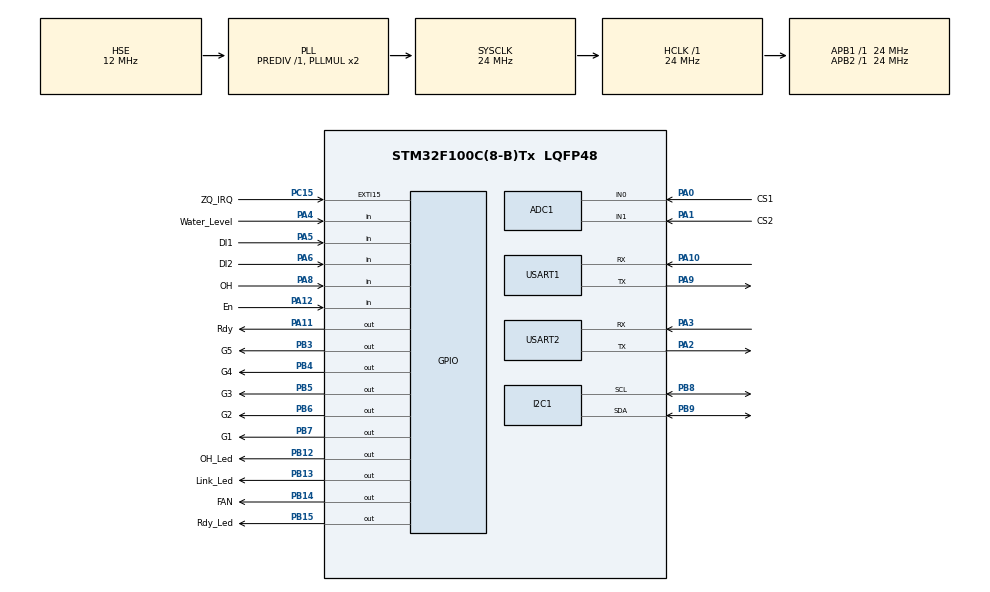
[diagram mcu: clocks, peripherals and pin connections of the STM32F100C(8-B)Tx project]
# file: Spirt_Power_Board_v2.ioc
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ADC1.Channel-6\#ChannelRegularConversion=ADC_CHANNEL_0
ADC1.Channel-7\#ChannelRegularConversion=ADC_CHANNEL_1
ADC1.Channel-8\#ChannelRegularConversion=ADC_CHANNEL_TEMPSENSOR
ADC1.ContinuousConvMode=DISABLE
ADC1.DataAlign=ADC_DATAALIGN_RIGHT
ADC1.DiscontinuousConvMode=DISABLE
ADC1.EnableRegularConversion=ENABLE
ADC1.InjNumberOfConversion=0
ADC1.NbrOfConversion=3
ADC1.NbrOfConversionFlag=1
ADC1.Rank-6\#ChannelRegularConversion=1
ADC1.Rank-7\#ChannelRegularConversion=2
ADC1.Rank-8\#ChannelRegularConversion=3
ADC1.SamplingTime-6\#ChannelRegularConversion=ADC_SAMPLETIME_1CYCLE_5
ADC1.SamplingTime-7\#ChannelRegularConversion=ADC_SAMPLETIME_1CYCLE_5
ADC1.SamplingTime-8\#ChannelRegularConversion=ADC_SAMPLETIME_1CYCLE_5
ADC1.ScanConvMode=ADC_SCAN_ENABLE
ADC1.master=1
Dma.ADC1.2.Direction=DMA_PERIPH_TO_MEMORY
Dma.ADC1.2.Instance=DMA1_Channel1
Dma.ADC1.2.MemDataAlignment=DMA_MDATAALIGN_HALFWORD
Dma.ADC1.2.MemInc=DMA_MINC_ENABLE
Dma.ADC1.2.Mode=DMA_NORMAL
Dma.ADC1.2.PeriphDataAlignment=DMA_PDATAALIGN_HALFWORD
Dma.ADC1.2.PeriphInc=DMA_PINC_DISABLE
Dma.ADC1.2.Priority=DMA_PRIORITY_LOW
Dma.Request0=USART2_RX
Dma.Request1=USART2_TX
Dma.Request2=ADC1
Dma.USART2_RX.0.Direction=DMA_PERIPH_TO_MEMORY
Dma.USART2_RX.0.Instance=DMA1_Channel6
Dma.USART2_RX.0.MemDataAlignment=DMA_MDATAALIGN_BYTE
Dma.USART2_RX.0.MemInc=DMA_MINC_ENABLE
Dma.USART2_RX.0.Mode=DMA_NORMAL
Dma.USART2_RX.0.PeriphDataAlignment=DMA_PDATAALIGN_BYTE
Dma.USART2_RX.0.PeriphInc=DMA_PINC_DISABLE
Dma.USART2_RX.0.Priority=DMA_PRIORITY_LOW
Dma.USART2_TX.1.Direction=DMA_MEMORY_TO_PERIPH
Dma.USART2_TX.1.Instance=DMA1_Channel7
Dma.USART2_TX.1.MemDataAlignment=DMA_MDATAALIGN_BYTE
Dma.USART2_TX.1.MemInc=DMA_MINC_ENABLE
Dma.USART2_TX.1.Mode=DMA_NORMAL
Dma.USART2_TX.1.PeriphDataAlignment=DMA_PDATAALIGN_BYTE
Dma.USART2_TX.1.PeriphInc=DMA_PINC_DISABLE
Dma.USART2_TX.1.Priority=DMA_PRIORITY_LOW
FREERTOS.INCLUDE_vTaskDelayUntil=1
FREERTOS.Tasks01=mainWorker,0,128,StartMainWorker,Default;heaterWorker,0,128,StartHeaterWorker,Default;tempSen,-1,128,StartTempSen,Default;rmsCalc,1,128,StartRmsCalc,Default
FREERTOS.configTOTAL_HEAP_SIZE=3584
FREERTOS.configUSE_COUNTING_SEMAPHORES=1
Mcu.Family=STM32F1
Mcu.Name=STM32F100C(8-B)Tx
Mcu.Package=LQFP48
NVIC.ADC1_IRQn=true\:5\:0\:false\:false\:true\:true
NVIC.DMA1_Channel1_IRQn=true\:5\:0\:false\:false\:true\:true
NVIC.DMA1_Channel6_IRQn=true\:5\:0\:false\:false\:true\:true
NVIC.DMA1_Channel7_IRQn=true\:5\:0\:false\:false\:true\:true
NVIC.EXTI15_10_IRQn=true\:5\:0\:false\:false\:true\:true
NVIC.PriorityGroup=NVIC_PRIORITYGROUP_4
NVIC.TIM1_UP_TIM16_IRQn=true\:0\:0\:false\:false\:true\:false
NVIC.TIM6_DAC_IRQn=true\:5\:0\:false\:false\:true\:true
NVIC.TimeBase=TIM1_UP_TIM16_IRQn
NVIC.TimeBaseIP=TIM1
NVIC.USART1_IRQn=true\:0\:0\:false\:false\:true\:false
NVIC.USART2_IRQn=true\:0\:0\:false\:false\:true\:false
PA0-WKUP.GPIO_Label=CS1
PA0-WKUP.Signal=ADCx_IN0
PA1.GPIO_Label=CS2
PA1.Signal=ADCx_IN1
PA10.Mode=Asynchronous
PA10.Signal=USART1_RX
PA11.GPIO_Label=Rdy
PA11.Signal=GPIO_Output
PA12.GPIO_Label=En
PA12.Signal=GPIO_Input
PA13.Mode=Serial_Wire
PA13.Signal=SYS_JTMS-SWDIO
PA14.Mode=Serial_Wire
PA14.Signal=SYS_JTCK-SWCLK
PA2.Mode=Asynchronous
PA2.Signal=USART2_TX
PA3.Mode=Asynchronous
PA3.Signal=USART2_RX
PA4.GPIO_Label=Water_Level
PA4.Signal=GPIO_Input
PA5.GPIO_Label=DI1
PA5.Signal=GPIO_Input
PA6.GPIO_Label=DI2
PA6.Signal=GPIO_Input
PA8.GPIO_Label=OH
PA8.Signal=GPIO_Input
PA9.Mode=Asynchronous
PA9.Signal=USART1_TX
PB12.GPIO_Label=OH_Led
PB12.Signal=GPIO_Output
PB13.GPIO_Label=Link_Led
PB13.Signal=GPIO_Output
PB14.GPIO_Label=FAN
PB14.Signal=GPIO_Output
PB15.GPIO_Label=Rdy_Led
PB15.Signal=GPIO_Output
PB3.GPIO_Label=G5
PB3.Signal=GPIO_Output
PB4.GPIO_Label=G4
PB4.Signal=GPIO_Output
PB5.GPIO_Label=G3
PB5.Signal=GPIO_Output
PB6.GPIO_Label=G2
PB6.Signal=GPIO_Output
PB7.GPIO_Label=G1
PB7.Signal=GPIO_Output
PB8.Mode=I2C
PB8.Signal=I2C1_SCL
PB9.Mode=I2C
PB9.Signal=I2C1_SDA
PC15-OSC32_OUT.GPIO_Label=ZQ_IRQ
PC15-OSC32_OUT.GPIO_ModeDefaultEXTI=GPIO_MODE_IT_FALLING
PC15-OSC32_OUT.Signal=GPXTI15
PD0-OSC_IN.Mode=HSE-External-Oscillator
PD0-OSC_IN.Signal=RCC_OSC_IN
PD1-OSC_OUT.Mode=HSE-External-Oscillator
PD1-OSC_OUT.Signal=RCC_OSC_OUT
ProjectManager.HeapSize=0x200
ProjectManager.StackSize=0x400
ProjectManager.TargetToolchain=MDK-ARM V5
RCC.AHBFreq_Value=24000000
RCC.APB1Freq_Value=24000000
RCC.APB1TimFreq_Value=24000000
RCC.APB2Freq_Value=24000000
RCC.APB2TimFreq_Value=24000000
RCC.HCLKFreq_Value=24000000
RCC.HSE_VALUE=12000000
RCC.PLLSource=RCC_PLLSOURCE_HSE
RCC.SYSCLKFreq_VALUE=24000000
RCC.SYSCLKSource=RCC_SYSCLKSOURCE_PLLCLK
SH.ADCx_IN0.0=ADC1_IN0,IN0
SH.ADCx_IN1.0=ADC1_IN1,IN1
TIM6.Period=200
TIM6.Prescaler=2399
VP_ADC1_TempSens_Input.Mode=IN-TempSens
VP_CRC_VS_CRC.Mode=CRC_Activate
VP_FREERTOS_VS_ENABLE.Mode=Enabled
VP_IWDG_VS_IWDG.Mode=IWDG_Activate
VP_SYS_VS_tim1.Mode=TIM1
VP_TIM6_VS_ClockSourceINT.Mode=Enable_Timer
board=Spirt_Power_Board_v2

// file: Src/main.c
/**
  ******************************************************************************
  * File Name          : main.c
  * Description        : Main program body
  ******************************************************************************
  *
  * Copyright (c) 2017 STMicroelectronics International N.V.
  * All rights reserved.
  *
  * Redistribution and use in source and binary forms, with or without
  * modification, are permitted, provided that the following conditions are met:
  *
  * 1. Redistribution of source code must retain the above copyright notice,
  *    this list of conditions and the following disclaimer.
  * 2. Redistributions in binary form must reproduce the above copyright notice,
  *    this list of conditions and the following disclaimer in the documentation
  *    and/or other materials provided with the distribution.
  * 3. Neither the name of STMicroelectronics nor the names of other
  *    contributors to this software may be used to endorse or promote products
  *    derived from this software without specific written permission.
  * 4. This software, including modifications and/or derivative works of this
  *    software, must execute solely and exclusively on microcontroller or
  *    microprocessor devices manufactured by or for STMicroelectronics.
  * 5. Redistribution and use of this software other than as permitted under
  *    this license is void and will automatically terminate your rights under
  *    this license.
  *
  * THIS SOFTWARE IS PROVIDED BY STMICROELECTRONICS AND CONTRIBUTORS "AS IS"
  * AND ANY EXPRESS, IMPLIED OR STATUTORY WARRANTIES, INCLUDING, BUT NOT
  * LIMITED TO, THE IMPLIED WARRANTIES OF MERCHANTABILITY, FITNESS FOR A
  * PARTICULAR PURPOSE AND NON-INFRINGEMENT OF THIRD PARTY INTELLECTUAL PROPERTY
  * RIGHTS ARE DISCLAIMED TO THE FULLEST EXTENT PERMITTED BY LAW. IN NO EVENT
  * SHALL STMICROELECTRONICS OR CONTRIBUTORS BE LIABLE FOR ANY DIRECT, INDIRECT,
  * INCIDENTAL, SPECIAL, EXEMPLARY, OR CONSEQUENTIAL DAMAGES (INCLUDING, BUT NOT
  * LIMITED TO, PROCUREMENT OF SUBSTITUTE GOODS OR SERVICES; LOSS OF USE, DATA,
  * OR PROFITS; OR BUSINESS INTERRUPTION) HOWEVER CAUSED AND ON ANY THEORY OF
  * LIABILITY, WHETHER IN CONTRACT, STRICT LIABILITY, OR TORT (INCLUDING
  * NEGLIGENCE OR OTHERWISE) ARISING IN ANY WAY OUT OF THE USE OF THIS SOFTWARE,
  * EVEN IF ADVISED OF THE POSSIBILITY OF SUCH DAMAGE.
  *
  ******************************************************************************
  */
#include "main.h"
#include "stm32f1xx_hal.h"
#include "cmsis_os.h"

/* USER CODE BEGIN Includes */
#include <wake.h>
#include <registers.h>
#include <settings.h>
#include <OWIHighLevelFunctions.h>
#include <util.h>
#include <pid.h>
#include <cpu_utils.h>

/* USER CODE END Includes */

ADC_HandleTypeDef hadc1;
DMA_HandleTypeDef hdma_adc1;

CRC_HandleTypeDef hcrc;

I2C_HandleTypeDef hi2c1;

IWDG_HandleTypeDef hiwdg;

TIM_HandleTypeDef htim6;

UART_HandleTypeDef huart1;
UART_HandleTypeDef huart2;
DMA_HandleTypeDef hdma_usart2_rx;
DMA_HandleTypeDef hdma_usart2_tx;

osThreadId mainWorkerHandle;
osThreadId heaterWorkerHandle;
osThreadId tempSenHandle;
osThreadId rmsCalcHandle;

/* USER CODE BEGIN PV */
/* Private variables ---------------------------------------------------------*/

xSemaphoreHandle  RW_Reg_Mutex, rmsCalcSemaphor;

uint8_t sens_count = 0;
float coolant_temp = 0.0;
float heater2Power = 0;
uint8_t OW_Status;
uint8_t heater2_sp_halpfs;
uint8_t halpf_count; // counter halpf periods for full cicle
uint16_t adc_buf[3]; // ADC raw value
CircleBuffer * CurentSensor1;
CircleBuffer * CurentSensor2;
CircleBuffer * AvgCS1;
CircleBuffer * AvgCS2;
BitCircleBuffer * SlideHalpfCounter;

uint8_t  adc_ready = 0,
				 cs_calibrated = 0;
uint16_t cs1_offset = 0,
				 cs2_offset = 0;

int16_t	cpu_temp;
int16_t cs2_avg_mv;

uint8_t halph_wave_counter;
uint8_t curent_en_flag = 0;
#if HEATER_CTRL_METHOD == POWER_CTRL_BRESENHAM
int16_t error;
#endif

//----------------------------
volatile uint8_t heater_pwr;
volatile uint16_t sp;
SPid pid;
volatile float pv, err, maxPower;

/* USER CODE END PV */

void SystemClock_Config(void);
void Error_Handler(void);
static void MX_GPIO_Init(void);
static void MX_DMA_Init(void);
static void MX_ADC1_Init(void);
static void MX_CRC_Init(void);
static void MX_I2C1_Init(void);
static void MX_IWDG_Init(void);
static void MX_TIM6_Init(void);
static void MX_USART1_UART_Init(void);
static void MX_USART2_UART_Init(void);
void StartMainWorker(void const * argument);
void StartHeaterWorker(void const * argument);
void StartTempSen(void const * argument);
void StartRmsCalc(void const * argument);

/* USER CODE BEGIN PFP */
/* Private function prototypes -----------------------------------------------*/
void Init_Registers(void);

void HAL_UART_ErrorCallback(UART_HandleTypeDef *huart){
	if (huart == &huart2) {

		// Необходимость данного "костыля" не доказана :)
		if (huart->ErrorCode == HAL_UART_ERROR_ORE){
        // remove the error condition
        huart->ErrorCode = HAL_UART_ERROR_NONE;
        // set the correct state, so that the UART_RX_IT works correctly
        huart->State = HAL_UART_STATE_BUSY_RX;
    }
	}
}
/* USER CODE END PFP */

int main(void)
{

  /* MCU Configuration----------------------------------------------------------*/

  /* Reset of all peripherals, Initializes the Flash interface and the Systick. */
  HAL_Init();

  /* Configure the system clock */
  SystemClock_Config();

  /* Initialize all configured peripherals */
  MX_GPIO_Init();
  MX_DMA_Init();
  MX_ADC1_Init();
  MX_CRC_Init();
  MX_I2C1_Init();
  MX_IWDG_Init();
  MX_TIM6_Init();
  MX_USART1_UART_Init();
  MX_USART2_UART_Init();

  /* USER CODE BEGIN 2 */
	HAL_ADCEx_Calibration_Start(&hadc1);
	Init_Registers();
	Wake_Init(&huart1);
	OW_Init(&huart2);
	HAL_IWDG_Start(&hiwdg);
	CurentSensor1 = CB_Create(CB_CS_CAPACITY);
	CurentSensor2 = CB_Create(CB_CS_CAPACITY);
	AvgCS1 = CB_Create(CB_AVG_CAPACITY1);
	AvgCS2 = CB_Create(CB_AVG_CAPACITY2);
	//SlideHalpfConter = BitCB_Create(CB_AVG_CAPACITY2 * 2); //100 * 2 = 200 halpf periods / 8 = (25 byte)
	SlideHalpfCounter = BitCB_Create(CB_AVG_CAPACITY2); // 100 halpf periods / 8 + 1 = (13 byte)
	adc_ready = 1; // start adc conversion after all configuration
  /* USER CODE END 2 */

  /* USER CODE BEGIN RTOS_MUTEX */
  /* add mutexes, ... */
	RW_Reg_Mutex = xSemaphoreCreateMutex();
  /* USER CODE END RTOS_MUTEX */

  /* Create the thread(s) */
  /* definition and creation of mainWorker */
  osThreadDef(mainWorker, StartMainWorker, osPriorityNormal, 0, 128);
  mainWorkerHandle = osThreadCreate(osThread(mainWorker), NULL);

  /* definition and creation of heaterWorker */
  osThreadDef(heaterWorker, StartHeaterWorker, osPriorityNormal, 0, 128);
  heaterWorkerHandle = osThreadCreate(osThread(heaterWorker), NULL);

  /* definition and creation of tempSen */
  osThreadDef(tempSen, StartTempSen, osPriorityBelowNormal, 0, 128);
  tempSenHandle = osThreadCreate(osThread(tempSen), NULL);

  /* definition and creation of rmsCalc */
  osThreadDef(rmsCalc, StartRmsCalc, osPriorityAboveNormal, 0, 128);
  rmsCalcHandle = osThreadCreate(osThread(rmsCalc), NULL);

  /* Start scheduler */
  osKernelStart();

  /* We should never get here as control is now taken by the scheduler */

  /* Infinite loop */
  while (1)
  {

  }

}

/** System Clock Configuration
*/
void SystemClock_Config(void)
{

  RCC_OscInitTypeDef RCC_OscInitStruct;
  RCC_ClkInitTypeDef RCC_ClkInitStruct;
  RCC_PeriphCLKInitTypeDef PeriphClkInit;

    /**Initializes the CPU, AHB and APB busses clocks
    */
  RCC_OscInitStruct.OscillatorType = RCC_OSCILLATORTYPE_LSI|RCC_OSCILLATORTYPE_HSE;
  RCC_OscInitStruct.HSEState = RCC_HSE_ON;
  RCC_OscInitStruct.HSEPredivValue = RCC_HSE_PREDIV_DIV1;
  RCC_OscInitStruct.LSIState = RCC_LSI_ON;
  RCC_OscInitStruct.PLL.PLLState = RCC_PLL_ON;
  RCC_OscInitStruct.PLL.PLLSource = RCC_PLLSOURCE_HSE;
  RCC_OscInitStruct.PLL.PLLMUL = RCC_PLL_MUL2;
  if (HAL_RCC_OscConfig(&RCC_OscInitStruct) != HAL_OK)
  {
    Error_Handler();
  }

    /**Initializes the CPU, AHB and APB busses clocks
    */
  RCC_ClkInitStruct.ClockType = RCC_CLOCKTYPE_HCLK|RCC_CLOCKTYPE_SYSCLK
                              |RCC_CLOCKTYPE_PCLK1|RCC_CLOCKTYPE_PCLK2;
  RCC_ClkInitStruct.SYSCLKSource = RCC_SYSCLKSOURCE_PLLCLK;
  RCC_ClkInitStruct.AHBCLKDivider = RCC_SYSCLK_DIV1;
  RCC_ClkInitStruct.APB1CLKDivider = RCC_HCLK_DIV1;
  RCC_ClkInitStruct.APB2CLKDivider = RCC_HCLK_DIV1;

  if (HAL_RCC_ClockConfig(&RCC_ClkInitStruct, FLASH_LATENCY_0) != HAL_OK)
  {
    Error_Handler();
  }

  PeriphClkInit.PeriphClockSelection = RCC_PERIPHCLK_ADC;
  PeriphClkInit.AdcClockSelection = RCC_ADCPCLK2_DIV2;
  if (HAL_RCCEx_PeriphCLKConfig(&PeriphClkInit) != HAL_OK)
  {
    Error_Handler();
  }

    /**Configure the Systick interrupt time
    */
  HAL_SYSTICK_Config(HAL_RCC_GetHCLKFreq()/1000);

    /**Configure the Systick
    */
  HAL_SYSTICK_CLKSourceConfig(SYSTICK_CLKSOURCE_HCLK);

  /* SysTick_IRQn interrupt configuration */
  HAL_NVIC_SetPriority(SysTick_IRQn, 15, 0);
}

/* ADC1 init function */
static void MX_ADC1_Init(void)
{

  ADC_ChannelConfTypeDef sConfig;

    /**Common config
    */
  hadc1.Instance = ADC1;
  hadc1.Init.ScanConvMode = ADC_SCAN_ENABLE;
  hadc1.Init.ContinuousConvMode = DISABLE;
  hadc1.Init.DiscontinuousConvMode = DISABLE;
  hadc1.Init.ExternalTrigConv = ADC_SOFTWARE_START;
  hadc1.Init.DataAlign = ADC_DATAALIGN_RIGHT;
  hadc1.Init.NbrOfConversion = 3;
  if (HAL_ADC_Init(&hadc1) != HAL_OK)
  {
    Error_Handler();
  }

    /**Configure Regular Channel
    */
  sConfig.Channel = ADC_CHANNEL_0;
  sConfig.Rank = 1;
  sConfig.SamplingTime = ADC_SAMPLETIME_1CYCLE_5;
  if (HAL_ADC_ConfigChannel(&hadc1, &sConfig) != HAL_OK)
  {
    Error_Handler();
  }

    /**Configure Regular Channel
    */
  sConfig.Channel = ADC_CHANNEL_1;
  sConfig.Rank = 2;
  if (HAL_ADC_ConfigChannel(&hadc1, &sConfig) != HAL_OK)
  {
    Error_Handler();
  }

    /**Configure Regular Channel
    */
  sConfig.Channel = ADC_CHANNEL_TEMPSENSOR;
  sConfig.Rank = 3;
  if (HAL_ADC_ConfigChannel(&hadc1, &sConfig) != HAL_OK)
  {
    Error_Handler();
  }

}

/* CRC init function */
static void MX_CRC_Init(void)
{

  hcrc.Instance = CRC;
  if (HAL_CRC_Init(&hcrc) != HAL_OK)
  {
    Error_Handler();
  }

}

/* I2C1 init function */
static void MX_I2C1_Init(void)
{

  hi2c1.Instance = I2C1;
  hi2c1.Init.ClockSpeed = 100000;
  hi2c1.Init.DutyCycle = I2C_DUTYCYCLE_2;
  hi2c1.Init.OwnAddress1 = 0;
  hi2c1.Init.AddressingMode = I2C_ADDRESSINGMODE_7BIT;
  hi2c1.Init.DualAddressMode = I2C_DUALADDRESS_DISABLE;
  hi2c1.Init.OwnAddress2 = 0;
  hi2c1.Init.GeneralCallMode = I2C_GENERALCALL_DISABLE;
  hi2c1.Init.NoStretchMode = I2C_NOSTRETCH_DISABLE;
  if (HAL_I2C_Init(&hi2c1) != HAL_OK)
  {
    Error_Handler();
  }

}

/* IWDG init function */
static void MX_IWDG_Init(void)
{

  hiwdg.Instance = IWDG;
  hiwdg.Init.Prescaler = IWDG_PRESCALER_4;
  hiwdg.Init.Reload = 4095;
  if (HAL_IWDG_Init(&hiwdg) != HAL_OK)
  {
    Error_Handler();
  }

}

/* TIM6 init function */
static void MX_TIM6_Init(void)
{

  TIM_MasterConfigTypeDef sMasterConfig;

  htim6.Instance = TIM6;
  htim6.Init.Prescaler = 2399;
  htim6.Init.CounterMode = TIM_COUNTERMODE_UP;
  htim6.Init.Period = 50; // 5 ms
  if (HAL_TIM_Base_Init(&htim6) != HAL_OK)
  {
    Error_Handler();
  }

  sMasterConfig.MasterOutputTrigger = TIM_TRGO_RESET;
  sMasterConfig.MasterSlaveMode = TIM_MASTERSLAVEMODE_DISABLE;
  if (HAL_TIMEx_MasterConfigSynchronization(&htim6, &sMasterConfig) != HAL_OK)
  {
    Error_Handler();
  }

}

/* USART1 init function */
static void MX_USART1_UART_Init(void)
{

  huart1.Instance = USART1;
  huart1.Init.BaudRate = 115200;
  huart1.Init.WordLength = UART_WORDLENGTH_8B;
  huart1.Init.StopBits = UART_STOPBITS_1;
  huart1.Init.Parity = UART_PARITY_NONE;
  huart1.Init.Mode = UART_MODE_TX_RX;
  huart1.Init.HwFlowCtl = UART_HWCONTROL_NONE;
  huart1.Init.OverSampling = UART_OVERSAMPLING_16;
  if (HAL_UART_Init(&huart1) != HAL_OK)
  {
    Error_Handler();
  }

}

/* USART2 init function */
static void MX_USART2_UART_Init(void)
{

  huart2.Instance = USART2;
  huart2.Init.BaudRate = 115200;
  huart2.Init.WordLength = UART_WORDLENGTH_8B;
  huart2.Init.StopBits = UART_STOPBITS_1;
  huart2.Init.Parity = UART_PARITY_NONE;
  huart2.Init.Mode = UART_MODE_TX_RX;
  huart2.Init.HwFlowCtl = UART_HWCONTROL_NONE;
  huart2.Init.OverSampling = UART_OVERSAMPLING_16;
  if (HAL_UART_Init(&huart2) != HAL_OK)
  {
    Error_Handler();
  }

}

static void MX_DMA_Init(void)
{
  /* DMA controller clock enable */
  __HAL_RCC_DMA1_CLK_ENABLE();

  /* DMA interrupt init */
  /* DMA1_Channel1_IRQn interrupt configuration */
  HAL_NVIC_SetPriority(DMA1_Channel1_IRQn, 5, 0);
  HAL_NVIC_EnableIRQ(DMA1_Channel1_IRQn);
  /* DMA1_Channel6_IRQn interrupt configuration */
  HAL_NVIC_SetPriority(DMA1_Channel6_IRQn, 5, 0);
  HAL_NVIC_EnableIRQ(DMA1_Channel6_IRQn);
  /* DMA1_Channel7_IRQn interrupt configuration */
  HAL_NVIC_SetPriority(DMA1_Channel7_IRQn, 5, 0);
  HAL_NVIC_EnableIRQ(DMA1_Channel7_IRQn);

}

/** Configure pins as
        * Analog
        * Input
        * Output
        * EVENT_OUT
        * EXTI
*/
static void MX_GPIO_Init(void)
{

  GPIO_InitTypeDef GPIO_InitStruct;

  /* GPIO Ports Clock Enable */
  __HAL_RCC_GPIOC_CLK_ENABLE();
  __HAL_RCC_GPIOD_CLK_ENABLE();
  __HAL_RCC_GPIOA_CLK_ENABLE();
  __HAL_RCC_GPIOB_CLK_ENABLE();

  /*Configure GPIO pin : ZQ_IRQ_Pin */
  GPIO_InitStruct.Pin = ZQ_IRQ_Pin;
  GPIO_InitStruct.Mode = GPIO_MODE_IT_FALLING;
  GPIO_InitStruct.Pull = GPIO_NOPULL;
  HAL_GPIO_Init(ZQ_IRQ_GPIO_Port, &GPIO_InitStruct);

  /*Configure GPIO pins : Water_Level_Pin DI1_Pin DI2_Pin OH_Pin
                           En_Pin */
  GPIO_InitStruct.Pin = Water_Level_Pin|DI1_Pin|DI2_Pin|OH_Pin
                          |En_Pin;
  GPIO_InitStruct.Mode = GPIO_MODE_INPUT;
  GPIO_InitStruct.Pull = GPIO_NOPULL;
  HAL_GPIO_Init(GPIOA, &GPIO_InitStruct);

  /*Configure GPIO pins : OH_Led_Pin Link_Led_Pin FAN_Pin Rdy_Led_Pin
                           G5_Pin G4_Pin G3_Pin G2_Pin
                           G1_Pin */
  GPIO_InitStruct.Pin = OH_Led_Pin|Link_Led_Pin|FAN_Pin|Rdy_Led_Pin
                          |G5_Pin|G4_Pin|G3_Pin|G2_Pin
                          |G1_Pin;
  GPIO_InitStruct.Mode = GPIO_MODE_OUTPUT_PP;
  GPIO_InitStruct.Speed = GPIO_SPEED_FREQ_LOW;
  HAL_GPIO_Init(GPIOB, &GPIO_InitStruct);

  /*Configure GPIO pin : Rdy_Pin */
  GPIO_InitStruct.Pin = Rdy_Pin;
  GPIO_InitStruct.Mode = GPIO_MODE_OUTPUT_PP;
  GPIO_InitStruct.Speed = GPIO_SPEED_FREQ_LOW;
  HAL_GPIO_Init(Rdy_GPIO_Port, &GPIO_InitStruct);

  /*Configure GPIO pin Output Level */
  HAL_GPIO_WritePin(GPIOB, OH_Led_Pin|Link_Led_Pin|FAN_Pin|Rdy_Led_Pin
                          |G5_Pin|G4_Pin|G3_Pin|G2_Pin
                          |G1_Pin, GPIO_PIN_RESET);

  /*Configure GPIO pin Output Level */
  HAL_GPIO_WritePin(Rdy_GPIO_Port, Rdy_Pin, GPIO_PIN_RESET);

  /* EXTI interrupt init*/
  HAL_NVIC_SetPriority(EXTI15_10_IRQn, 5, 0);
  HAL_NVIC_EnableIRQ(EXTI15_10_IRQn);

}

/* USER CODE BEGIN 4 */

// Начальная инициализация параметров
void Init_Registers(void){
	R[RO_HSV] = HW_SW_VER; 	// See settings.h
	R[RW_SP_PWR_M] = 500;   // 50 %
	R[RW_SP_PWR_A] = 500;		// 50 %
	R[RW_SP_T] = 24;				// 24 C
	R[RW_R1] = 323;					// 32.3 Om
	R[RW_R2] = 161;					// 16.1 Om
	R[RW_KP] = 100;					// Kp = 1;
	R[RW_KI] = 1;						// Ki = 0,01
	R[RW_KD] = 0;						// Kd = 0
	R[RW_CMD] = 0x0000;			// CMD = 0
	R[RO_ETA] = 0x0000;			// ETA = 0
}
//--------------------------------------------------------------------------------------
void HAL_UART_RxCpltCallback(UART_HandleTypeDef *huart)
{
	if (huart->Instance == USART1) //huart == &huart1
	{
			HAL_GPIO_WritePin(Link_Led_GPIO_Port, Link_Led_Pin, GPIO_PIN_SET);
			Wake_UART_Rx();
	}
}
//--------------------------------------------------------------------------------------
void HAL_UART_TxCpltCallback(UART_HandleTypeDef *huart)
{
	if (huart->Instance == USART1) //huart == &huart1
	{
			Wake_UART_Tx();
			HAL_GPIO_WritePin(Link_Led_GPIO_Port, Link_Led_Pin, GPIO_PIN_RESET);
	}
}
//--------------------------------------------------------------------------------------
// Zero cross detection
void HAL_GPIO_EXTI_Callback(uint16_t GPIO_Pin){
/*
static uint8_t halph_wave_counter;
#if HEATER_CTRL_METHOD == POWER_CTRL_BRESENHAM
static int16_t error;
#endif
	*/
//static uint8_t period_flag = 0;
portBASE_TYPE xHigherPriorityTaskWoken = pdFALSE;

	if (GPIO_Pin == ZQ_IRQ_Pin) {
			if (heater2_sp_halpfs == HALPHS_COUNT) { // tolerance 0.5 %
				//HEATER_ON;
				HAL_GPIO_WritePin(G2_GPIO_Port, G2_Pin, GPIO_PIN_SET);
				halph_wave_counter = 0;
				BitCB_PlaceTail(SlideHalpfCounter, 1);
				heater2_sp_halpfs = heater_pwr; // write new power value
				curent_en_flag = 1;
				#if HEATER_CTRL_METHOD == POWER_CTRL_BRESENHAM
				error = HALPHS_COUNT / 2;
				#endif
			} else
			#if HEATER_CTRL_METHOD == POWER_CTRL_PWM  // PWM control
				if (heater2_sp_halpfs > 0) {
					if (++halph_wave_counter >= heater2_sp_halpfs) {
						//HEATER_OFF;
						BitCB_PlaceTail(SlideHalpfConter, 0);
						HAL_GPIO_WritePin(G2_GPIO_Port, G2_Pin, GPIO_PIN_RESET);
						curent_en_flag = 0;
					} else {
						//HEATER_ON;
						BitCB_PlaceTail(SlideHalpfConter, 1);
						HAL_GPIO_WritePin(G2_GPIO_Port, G2_Pin, GPIO_PIN_SET);
						curent_en_flag = 1;
					}
					if (halph_wave_counter >= HALPHS_COUNT) { //199
						halph_wave_counter = 0;
						heater2_sp_halpfs = heater_pwr; // write new power value
					}
				} else {
					//HEATER_OFF;
					HAL_GPIO_WritePin(G2_GPIO_Port, G2_Pin, GPIO_PIN_RESET);
					curent_en_flag = 0;
					halph_wave_counter = 0;
					BitCB_PlaceTail(SlideHalpfConter, 0);
					heater2_sp_halpfs = heater_pwr; // write new power value
				}
			#else // Bresenham method control
				if (heater2_sp_halpfs > 0) {

					error -= heater2_sp_halpfs;
					if (error < 0) {
						//HEATER_ON;
						error +=  HALPHS_COUNT;
						BitCB_PlaceTail(SlideHalpfCounter, 1);
						HAL_GPIO_WritePin(G2_GPIO_Port, G2_Pin, GPIO_PIN_SET);
						curent_en_flag = 1;
						HAL_TIM_Base_Start_IT(&htim6);
					} else {
						//HEATER_OFF;
						BitCB_PlaceTail(SlideHalpfCounter, 0);
						HAL_GPIO_WritePin(G2_GPIO_Port, G2_Pin, GPIO_PIN_RESET);
						curent_en_flag = 0;
					}
					if (++halph_wave_counter >= HALPHS_COUNT) { //199
						halph_wave_counter = 0;
						heater2_sp_halpfs = heater_pwr; // write new power value
						error = HALPHS_COUNT / 2;
					}
					/*
					error += heater2_sp_halpfs;
					if (error >= HALPHS_COUNT) {
						//HEATER_ON;
						error -=  HALPHS_COUNT;
						BitCB_PlaceTail(SlideHalpfConter, 1);
						HAL_GPIO_WritePin(G2_GPIO_Port, G2_Pin, GPIO_PIN_SET);
						curent_en_flag = 1;
						HAL_TIM_Base_Start_IT(&htim6);
					} else {
						//HEATER_OFF;
						BitCB_PlaceTail(SlideHalpfConter, 0);
						HAL_GPIO_WritePin(G2_GPIO_Port, G2_Pin, GPIO_PIN_RESET);
						curent_en_flag = 0;
						heater2_sp_halpfs = heater_pwr; // write new power value
					}
					*/
				} else {
					//HEATER_OFF;
					HAL_GPIO_WritePin(G2_GPIO_Port, G2_Pin, GPIO_PIN_RESET);
					curent_en_flag = 0;
					halph_wave_counter = 0;
					BitCB_PlaceTail(SlideHalpfCounter, 0);
					heater2_sp_halpfs = heater_pwr; // write new power value
					error = HALPHS_COUNT / 2;
				}
			#endif
		//period_flag = !period_flag;
		//if (period_flag && rmsCalcSemaphor != NULL) { // синхронизация расчета с переходом серез ноль каждый период
		if (rmsCalcSemaphor != NULL) { // синхронизация расчета с переходом серез ноль каждый период
			xSemaphoreGiveFromISR(rmsCalcSemaphor, &xHigherPriorityTaskWoken);
			portYIELD_FROM_ISR( xHigherPriorityTaskWoken ); // Переключаемся на задачу обработчик
		}
	}
}
//--------------------------------------------------------------------------------------
// End ADC conversion
void HAL_ADC_ConvCpltCallback(ADC_HandleTypeDef* hadc){
	if (hadc == &hadc1) {
		int16_t SenValRaw;
		const uint16_t V25 = 1750;// when V25=1.41V at ref 3.3V
		const uint16_t Avg_Slope = 5; //when avg_slope=4.3mV/C at ref 3.3V

		if (cs_calibrated == CS_AVG_CNT) {
			SenValRaw = (float)CS_ADC_VREF / (float)CS_ADC_MAX * adc_buf[1] * CS_K_ATT - 2500 + 65;//(float)cs1_offset; // get mv from cs 1
			CB_PlaceTail(CurentSensor1, SenValRaw);
			if (curent_en_flag) {
				SenValRaw = (float)CS_ADC_VREF / (float)CS_ADC_MAX * adc_buf[2] * CS_K_ATT - 2500 + 65;//(float)cs2_offset; // get mv from cs 2
			} else {
				SenValRaw = 0;
			}
			CB_PlaceTail(CurentSensor2, SenValRaw);

			cpu_temp = (uint16_t)((V25 - adc_buf[0]) / Avg_Slope - 25); // расчет температуры

		} else {
			cs1_offset += adc_buf[1]; // измеряем ток без нагрузки, т.е. ноль
			cs2_offset += adc_buf[2];
			cs_calibrated ++;
			if (cs_calibrated == CS_AVG_CNT){ // усредняем и разрешаем работу главного реле
				cs1_offset /= CS_AVG_CNT;
				cs1_offset = (float)CS_ADC_VREF / (float)CS_ADC_MAX * cs1_offset * CS_K_ATT;
				cs2_offset /= CS_AVG_CNT;
				cs2_offset = (float)CS_ADC_VREF / (float)CS_ADC_MAX * cs2_offset * CS_K_ATT;
			}
		}
	}
}

/* USER CODE END 4 */

/* StartMainWorker function */
void StartMainWorker(void const * argument)
{

  /* USER CODE BEGIN 5 */
  /* Infinite loop */
	HAL_GPIO_WritePin(FAN_GPIO_Port, FAN_Pin, GPIO_PIN_SET); // on cooler

  for(;;)
  {
    HAL_IWDG_Refresh(&hiwdg);

		if (xSemaphoreTake(RW_Reg_Mutex, portMAX_DELAY) == pdTRUE) {
			Wake_Commands_Exe();

			// main relay and ready led control
			if (HAL_GPIO_ReadPin(OH_GPIO_Port, OH_Pin) && //Проверка датчика перегрева радиаторов
					!HAL_GPIO_ReadPin(En_GPIO_Port, En_Pin) && // Проверка разрешающего сигнала от блока управления
					(cs_calibrated == CS_AVG_CNT)){ // проверка окончания процесса калибровки датчиков тока

				HAL_GPIO_WritePin(Rdy_Led_GPIO_Port, Rdy_Led_Pin, GPIO_PIN_SET); // on Ready led
				R[RO_ETA] |= ((uint16_t)1 <<  ETA_BIT_MR); // set main relay bit in ETA
			} else {

				HAL_GPIO_WritePin(G1_GPIO_Port, G1_Pin, GPIO_PIN_RESET); // off heater 1
				HAL_GPIO_WritePin(G2_GPIO_Port, G2_Pin, GPIO_PIN_RESET); // off heater 2
				HAL_GPIO_WritePin(G3_GPIO_Port, G3_Pin, GPIO_PIN_RESET); // off mixer
				HAL_GPIO_WritePin(G4_GPIO_Port, G4_Pin, GPIO_PIN_RESET); // off fan
				HAL_GPIO_WritePin(G5_GPIO_Port, G5_Pin, GPIO_PIN_RESET); // off pump

				HAL_GPIO_WritePin(Rdy_Led_GPIO_Port, Rdy_Led_Pin, GPIO_PIN_RESET); // off Ready led

				R[RO_ETA] &= ~((uint16_t)1 << ETA_BIT_MR); // reset main relay bit in ETA
				R[RW_CMD] = 0x0000; // Выключаем все при отвале реле
			}

			// проверка на перегрев радиаторов
			if (!HAL_GPIO_ReadPin(OH_GPIO_Port, OH_Pin)){
				HAL_GPIO_WritePin(OH_Led_GPIO_Port, OH_Led_Pin, GPIO_PIN_SET); // on OH led
				HAL_GPIO_WritePin(Rdy_GPIO_Port, Rdy_Pin, GPIO_PIN_RESET); // off Ready signal
				R[RO_ETA] |= ((uint16_t)1 << ETA_BIT_OH); // set OH bit in ETA
			} else {
				HAL_GPIO_WritePin(OH_Led_GPIO_Port, OH_Led_Pin, GPIO_PIN_RESET); // off OH led
				HAL_GPIO_WritePin(Rdy_GPIO_Port, Rdy_Pin, GPIO_PIN_SET); // on Ready signal
				R[RO_ETA] &= ~((uint16_t)1 << ETA_BIT_OH); // reset OH bit in ETA
			}

			// cooling system water tempreture sensor
			if (sens_count != 0){
				R[RO_ETA] |= ((uint16_t)1 << ETA_BIT_TS); // set temp sen bit in ETA
			} else {
				R[RO_ETA] &= ~((uint16_t)1 << ETA_BIT_TS); // reset temp sen bit in ETA
			}

			// level sensor
			if (HAL_GPIO_ReadPin(Water_Level_GPIO_Port, Water_Level_Pin)){
				R[RO_ETA] |= ((uint16_t)1 << ETA_BIT_LS); // set level bit in ETA
			} else {
				R[RO_ETA] &= ~((uint16_t)1 << ETA_BIT_LS); // reset level bit in ETA
			}

			// heater1 on\ off state
			if ( (R[RW_CMD]&((uint16_t)1 << CMD_BIT_H1E)) != 0){
				HAL_GPIO_WritePin(G1_GPIO_Port, G1_Pin, GPIO_PIN_SET); // on heater 1
			} else {
				HAL_GPIO_WritePin(G1_GPIO_Port, G1_Pin, GPIO_PIN_RESET); // off heater 1
			}

			// mixer on\ off state
			if ( (R[RW_CMD]&((uint16_t)1 << CMD_BIT_ME)) != 0){
				HAL_GPIO_WritePin(G3_GPIO_Port, G3_Pin, GPIO_PIN_SET); // on mixer
				R[RO_ETA] |= ((uint16_t)1 << ETA_BIT_MS); // set mixer bit in ETA
			} else {
				HAL_GPIO_WritePin(G3_GPIO_Port, G3_Pin, GPIO_PIN_RESET); // off mixer
				R[RO_ETA] &= ~((uint16_t)1 << ETA_BIT_MS); // reset mixer bit in ETA
			}

			// pump on\ off state
			if ( (R[RW_CMD]&((uint16_t)1 << CMD_BIT_PE)) != 0){
				HAL_GPIO_WritePin(G5_GPIO_Port, G5_Pin, GPIO_PIN_SET); // on pump
				R[RO_ETA] |= ((uint16_t)1 << ETA_BIT_PS); // set pump bit in ETA
			} else {
				HAL_GPIO_WritePin(G5_GPIO_Port, G5_Pin, GPIO_PIN_RESET); // off pump
				R[RO_ETA] &= ~((uint16_t)1 << ETA_BIT_PS); // reset pump bit in ETA
			}

			// если датчик температуры обнаружен, то работа в штатном режиме, иначе включаем вентилятор совместно с насосом
			if (sens_count) {
				// cooling system fan control
				if ((R[RW_CMD]&((uint16_t)1 << CMD_BIT_FE)) != 0){
					//
					if ((R[RW_CMD]&((uint16_t)1 << CMD_BIT_FM)) != 0) { // fan auto mode
						if ((uint16_t)coolant_temp >= R[RW_SP_T] ) {
						HAL_GPIO_WritePin(G4_GPIO_Port, G4_Pin, GPIO_PIN_SET); // on fan
						R[RO_ETA] |= ((uint16_t)1 << ETA_BIT_FS); // set fan bit in ETA
					} else if ((uint16_t)coolant_temp < R[RW_SP_T] - DELTA_T_COOL){
						HAL_GPIO_WritePin(G4_GPIO_Port, G4_Pin, GPIO_PIN_RESET); // off fan
						R[RO_ETA] &= ~((uint16_t)1 << ETA_BIT_FS); // reset fan bit in ETA
						}
					} else { // fan manual mode
						HAL_GPIO_WritePin(G4_GPIO_Port, G4_Pin, GPIO_PIN_SET); // on fan
						R[RO_ETA] |= ((uint16_t)1 << ETA_BIT_FS); // set fan bit in ETA
					}
				} else { // off fan
					HAL_GPIO_WritePin(G4_GPIO_Port, G4_Pin, GPIO_PIN_RESET); // off fan
					R[RO_ETA] &= ~((uint16_t)1 << ETA_BIT_FS); // reset fan bit in ETA
				}
			} else {
				if ( (R[RW_CMD]&((uint16_t)1 << CMD_BIT_PE)) != 0){
					HAL_GPIO_WritePin(G4_GPIO_Port, G4_Pin, GPIO_PIN_SET); // on fan
					R[RO_ETA] |= ((uint16_t)1 << ETA_BIT_FS); // set fan bit in ETA
				} else {
					HAL_GPIO_WritePin(G4_GPIO_Port, G4_Pin, GPIO_PIN_RESET); // off fan
					R[RO_ETA] &= ~((uint16_t)1 << ETA_BIT_FS); // reset fan bit in ETA
				}
			}
			xSemaphoreGive(RW_Reg_Mutex);
		}

		osDelay(10);
  }
  /* USER CODE END 5 */
}

/* StartHeaterWorker function */
void StartHeaterWorker(void const * argument)
{
  /* USER CODE BEGIN StartHeaterWorker */
	float tmp_pwr;

	SetOutLimPID(&pid, 0.0, (float)HALPHS_COUNT); // tollerance 0.5 %
  /* Infinite loop */
  for(;;)
  {
		if (xSemaphoreTake(RW_Reg_Mutex, portMAX_DELAY) == pdTRUE) {

			// Расчет выходной мощности
			R[RO_PWR1] = (((float)R[RO_CS1] / 100.0) * ((float)R[RO_CS1] / 100.0) * ((float)R[RW_R1] / 10.0) / 10); // 0.01 kW
			//*********************************
			halpf_count = BitCB_GetOnes(SlideHalpfCounter);
			// Расчет мощности для второго ТЭНа, пропорционально времени включения (количеству полупериодов)
			tmp_pwr =   ((float)HALPHS_COUNT / (float)halpf_count * ((float)R[RO_CS2] / 100.0)) * ((float)HALPHS_COUNT / (float)halpf_count * ((float)R[RO_CS2] / 100.0));
			#if CS2_EXP_FILTER == 0
				heater2Power = (tmp_pwr * ((float)R[RW_R2] / 10.0) * ((float)halpf_count / (float)HALPHS_COUNT)); // W
			#else
				heater2Power = heater2Power * (1.0F - CS2_EXP_COEFF) + CS2_EXP_COEFF * (tmp_pwr * ((float)R[RW_R2] / 10.0) * ((float)halpf_count / (float)HALPHS_COUNT)); // W
			#endif

			R[RO_PWR2] = ( heater2Power / 10); // 0.01 kW
			//*********************************
			R[RO_TMP1] = coolant_temp;
			R[RO_CPU_TMP] = cpu_temp;
			R[RO_CPU_LOD] = osGetCPUUsage();

			if ((R[RW_CMD]&((uint16_t)1 << CMD_BIT_H2E)) != 0) { // heater 2 on
				if ((R[RW_CMD]&((uint16_t)1 << CMD_BIT_H2M)) != 0) { // heater 2 on in auto mode
					//  ПИД
					//sp = (R[RW_SP_PWR_A] / 10) * 2;  // %
					//sp += (R[RW_SP_PWR_A] % 10) / 5; // 0.5 % from 0 to 200
					sp = (R[RW_SP_PWR_A] / 10);  // 1 % from 0 to 100

					maxPower = (float)(HEATER_W_VOLT * HEATER_W_VOLT) / ((float)R[RW_R2] / 10.0); // максимальная теоритическая мощность

					pv = (heater2Power * (float)HALPHS_COUNT) / maxPower; // реальная мощность на ТЭНе в 0.5%

					err = (float)sp - pv; // Прямой закон регулирования
					if (err < -PID_HYST || err > PID_HYST) { // Hysteresys
						SetKpPID(&pid, R[RW_KP] / 100.0);
						SetKiPID(&pid, R[RW_KI] / 100.0);
						SetKdPID(&pid, R[RW_KD] / 100.0);
						heater_pwr = UpdatePID(&pid, err, pv);
					}

				} else { // heater 2 on in manual mode
					//heater_pwr = (R[RW_SP_PWR_M] / 10) * 2;  // %
					//heater_pwr += (R[RW_SP_PWR_M] % 10) / 5; // 0.5 %
					heater_pwr = (R[RW_SP_PWR_M] / 10);  // 1 % from 0 to 100
					ResetiStatePID(&pid);
				}
			} else { // heater 2 off
				ResetiStatePID(&pid);
				heater_pwr = 0;
			}
			/*
			portENTER_CRITICAL();
				heater2_sp_halpfs = heater_pwr; // write new power value
			portEXIT_CRITICAL();
			*/
			xSemaphoreGive(RW_Reg_Mutex);
		}
    osDelay(1000);
  }
  /* USER CODE END StartHeaterWorker */
}

/* StartTempSen function */
void StartTempSen(void const * argument)
{
  /* USER CODE BEGIN StartTempSen */
	OWI_device devices[MAX_DS18B20];
	uint8_t num = 0;
	if (OWI_SearchDevices(devices, MAX_DS18B20, &huart2, &num) == SEARCH_SUCCESSFUL){
		sens_count = num;
	}
  /* Infinite loop */
  for(;;)
  {
		if (num > 0) { // если есть датчики, то читаем температуру
			if (OWI_DetectPresence(&huart2) == OW_OK) {
				coolant_temp = GetTemperatureSkipRom(&huart2);
				StartAllConvert_T(&huart2);
			} else {
				num = 0;
				sens_count = 0;
				coolant_temp = 0;
			}
		} else { //иначе пробуем искать датчики снова
			if (OWI_SearchDevices(devices, MAX_DS18B20, &huart2, &num) == SEARCH_SUCCESSFUL){
				sens_count = num;
			}
		}
    osDelay(2000);
  }
  /* USER CODE END StartTempSen */
}

/* StartRmsCalc function */
void StartRmsCalc(void const * argument)
{
  /* USER CODE BEGIN StartRmsCalc */
	vSemaphoreCreateBinary(rmsCalcSemaphor);
	while (rmsCalcSemaphor == NULL){
		//HAL_TIM_Base_Start_IT(&htim6);
		HAL_GPIO_TogglePin(Rdy_Led_GPIO_Port, Rdy_Led_Pin);
		osDelay(500);
	}

  /* Infinite loop */
  for(;;)
  {
    if (xSemaphoreTake(rmsCalcSemaphor, portMAX_DELAY) == pdTRUE){

			CB_PlaceTail(AvgCS1, CB_GetRMS(CurentSensor1));
			CB_PlaceTail(AvgCS2, CB_GetRMS(CurentSensor2));

			CB_Flush(CurentSensor1);
			CB_Flush(CurentSensor2);

			R[RO_CS1] = CB_GetAVG(AvgCS1) / (CS_K_SEN / 100.0) * CS_GEN_COEFF; // 0.01 A
			cs2_avg_mv = CB_GetAVG(AvgCS2);
			R[RO_CS2] =  cs2_avg_mv / (CS_K_SEN / 100.0) * CS_GEN_COEFF; // 0.01 A

		}
		osDelay(5);
  }
  /* USER CODE END StartRmsCalc */
}

void HAL_TIM_PeriodElapsedCallback(TIM_HandleTypeDef *htim)
{
/* USER CODE BEGIN Callback 0 */
//	portBASE_TYPE xHigherPriorityTaskWoken = pdFALSE;
/* USER CODE END Callback 0 */
  if (htim->Instance == TIM1) {
    HAL_IncTick();
  }
/* USER CODE BEGIN Callback 1 */
	if (htim->Instance == TIM1 && adc_ready) { // need test
		HAL_ADC_Start_DMA(&hadc1, (uint32_t*)adc_buf, sizeof(adc_buf));
	}

	if (htim->Instance == TIM6) { // every 5 ms
			HAL_GPIO_WritePin(G2_GPIO_Port, G2_Pin, GPIO_PIN_RESET);
			HAL_TIM_Base_Stop(&htim6);
			//HAL_GPIO_TogglePin(OH_Led_GPIO_Port, OH_Led_Pin);
			//xSemaphoreGiveFromISR(rmsCalcSemaphor, &xHigherPriorityTaskWoken);
			//portYIELD_FROM_ISR( xHigherPriorityTaskWoken ); // Переключаемся на задачу обработчик
	}

/* USER CODE END Callback 1 */
}

void Error_Handler(void)
{
  /* USER CODE BEGIN Error_Handler */
  /* User can add his own implementation to report the HAL error return state */
  while(1)
  {
		HAL_GPIO_WritePin(Rdy_Led_GPIO_Port, Rdy_Led_Pin, GPIO_PIN_SET);
		HAL_Delay(500);
		HAL_GPIO_WritePin(Rdy_Led_GPIO_Port, Rdy_Led_Pin, GPIO_PIN_RESET);
		HAL_Delay(1000);
  }
  /* USER CODE END Error_Handler */
}

/************************ (C) COPYRIGHT STMicroelectronics *****END OF FILE****/
